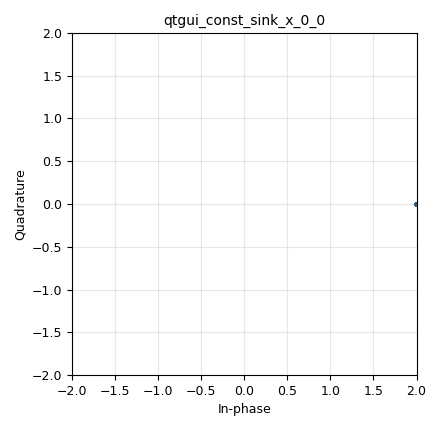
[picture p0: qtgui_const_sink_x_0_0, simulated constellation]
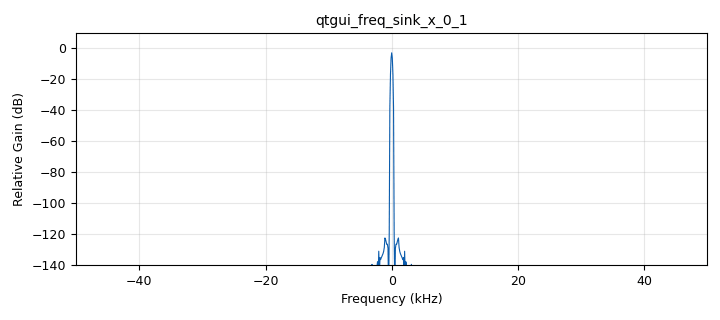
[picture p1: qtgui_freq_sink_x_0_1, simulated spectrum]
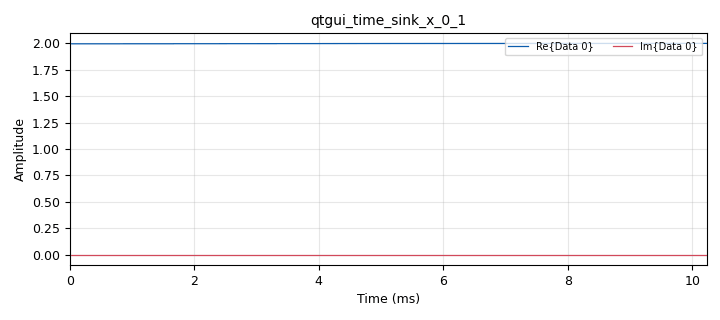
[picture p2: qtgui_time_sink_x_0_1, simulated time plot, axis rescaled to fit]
options:
  parameters:
    author: mmprk
    generate_options: qt_gui
    id: complexPlot
    output_language: python
    title: complexPlot
  states: {}

blocks:
- name: freq
  id: variable_qtgui_range
  parameters:
    start: '-100e3'
    step: '1'
    stop: 100e3
    value: '1'
  states: {}
- name: samp_rate
  id: variable
  parameters:
    value: 100e3
  states: {}
- name: analog_sig_source_x_0
  id: analog_sig_source_x
  parameters:
    amp: '1'
    freq: freq
    offset: '0'
    phase: '0'
    samp_rate: samp_rate
    type: complex
    waveform: analog.GR_COS_WAVE
  states: {}
- name: blocks_add_xx_0
  id: blocks_add_xx
  parameters:
    comment: |-
      By adding the complex signal
      to the complex conjugate, you
      can reduce the imaginary part
      to 0, leaving only the real part.
      a+ib + a-ib = 2a
      Note that the amplitude of the
      real part will be doubled.
    type: complex
  states: {}
- name: blocks_conjugate_cc_0
  id: blocks_conjugate_cc
  parameters: {}
  states: {}
- name: blocks_throttle2_0
  id: blocks_throttle2
  parameters:
    samples_per_second: samp_rate
    type: complex
  states: {}
- name: qtgui_const_sink_x_0_0
  id: qtgui_const_sink_x
  parameters:
    size: '1024'
    type: complex
  states: {}
- name: qtgui_freq_sink_x_0_1
  id: qtgui_freq_sink_x
  parameters:
    bw: samp_rate
    fc: '0'
    fftsize: '1024'
    type: complex
  states: {}
- name: qtgui_time_sink_x_0_1
  id: qtgui_time_sink_x
  parameters:
    ctrlpanel: 'True'
    size: '1024'
    srate: samp_rate
    type: complex
  states: {}

connections:
- [analog_sig_source_x_0, '0', blocks_throttle2_0, '0']
- [blocks_add_xx_0, '0', qtgui_const_sink_x_0_0, '0']
- [blocks_add_xx_0, '0', qtgui_freq_sink_x_0_1, '0']
- [blocks_add_xx_0, '0', qtgui_time_sink_x_0_1, '0']
- [blocks_conjugate_cc_0, '0', blocks_add_xx_0, '1']
- [blocks_throttle2_0, '0', blocks_add_xx_0, '0']
- [blocks_throttle2_0, '0', blocks_conjugate_cc_0, '0']

metadata:
  file_format: 1
  grc_version: 3.10.6.0
